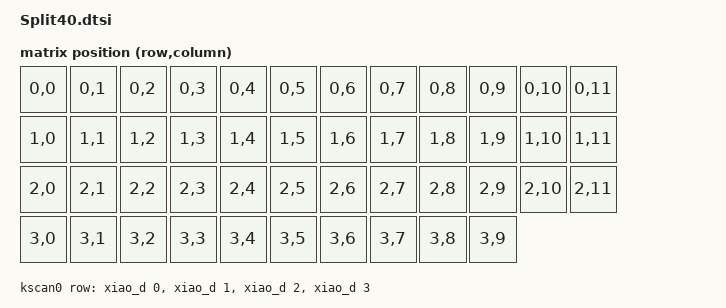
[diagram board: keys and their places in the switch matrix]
#include <dt-bindings/zmk/matrix_transform.h>
#include <physical_layouts.dtsi>

/ {
    chosen {
        zmk,physical-layout = &split40_physical_layout;
    };
    split40_physical_layout: split40_physical_layout {
        compatible = "zmk,physical-layout";
        display-name = "Default";
        kscan = <&kscan0>;
        transform = <&default_transform>;

        keys  //                     w   h    x    y     rot    rx    ry
            = <&key_physical_attrs 100 100    0    0       0     0     0>
            , <&key_physical_attrs 100 100  100    0       0     0     0>
            , <&key_physical_attrs 100 100  200    0       0     0     0>
            , <&key_physical_attrs 100 100  300    0       0     0     0>
            , <&key_physical_attrs 100 100  400    0       0     0     0>
            , <&key_physical_attrs 100 100  500    0       0     0     0>
            , <&key_physical_attrs 100 100  675    0       0     0     0>
            , <&key_physical_attrs 100 100  775    0       0     0     0>
            , <&key_physical_attrs 100 100  875    0       0     0     0>
            , <&key_physical_attrs 100 100  975    0       0     0     0>
            , <&key_physical_attrs 100 100 1075    0       0     0     0>
            , <&key_physical_attrs 150 100 1175    0       0     0     0>
            , <&key_physical_attrs 125 100    0  100       0     0     0>
            , <&key_physical_attrs 100 100  125  100       0     0     0>
            , <&key_physical_attrs 100 100  225  100       0     0     0>
            , <&key_physical_attrs 100 100  325  100       0     0     0>
            , <&key_physical_attrs 100 100  425  100       0     0     0>
            , <&key_physical_attrs 100 100  525  100       0     0     0>
            , <&key_physical_attrs 100 100  700  100       0     0     0>
            , <&key_physical_attrs 100 100  800  100       0     0     0>
            , <&key_physical_attrs 100 100  900  100       0     0     0>
            , <&key_physical_attrs 100 100 1000  100       0     0     0>
            , <&key_physical_attrs 100 100 1100  100       0     0     0>
            , <&key_physical_attrs 125 100 1200  100       0     0     0>
            , <&key_physical_attrs 150 100    0  200       0     0     0>
            , <&key_physical_attrs 100 100  150  200       0     0     0>
            , <&key_physical_attrs 100 100  250  200       0     0     0>
            , <&key_physical_attrs 100 100  350  200       0     0     0>
            , <&key_physical_attrs 100 100  450  200       0     0     0>
            , <&key_physical_attrs 100 100  550  200       0     0     0>
            , <&key_physical_attrs 100 100  725  200       0     0     0>
            , <&key_physical_attrs 100 100  825  200       0     0     0>
            , <&key_physical_attrs 100 100  925  200       0     0     0>
            , <&key_physical_attrs 100 100 1025  200       0     0     0>
            , <&key_physical_attrs 100 100 1125  200       0     0     0>
            , <&key_physical_attrs 100 100 1225  200       0     0     0>
            , <&key_physical_attrs 100 100  175  300       0     0     0>
            , <&key_physical_attrs 100 100  275  300       0     0     0>
            , <&key_physical_attrs 100 100  375  300       0     0     0>
            , <&key_physical_attrs 150 100  475  300       0     0     0>
            , <&key_physical_attrs 150 100  700  300       0     0     0>
            , <&key_physical_attrs 100 100  850  300       0     0     0>
            , <&key_physical_attrs 100 100  950  300       0     0     0>
            , <&key_physical_attrs 100 100 1050  300       0     0     0>
            ;
    };
    
    default_transform: keymap_transform_0 {
        compatible = "zmk,matrix-transform";
        columns = <12>;
        rows = <4>;
        map = <
            RC(0,0) RC(0,1) RC(0,2) RC(0,3) RC(0,4) RC(0,5) RC(0,6) RC(0,7) RC(0,8) RC(0,9) RC(0,10) RC(0,11)
            RC(1,0) RC(1,1) RC(1,2) RC(1,3) RC(1,4) RC(1,5) RC(1,6) RC(1,7) RC(1,8) RC(1,9) RC(1,10) RC(1,11)
            RC(2,0) RC(2,1) RC(2,2) RC(2,3) RC(2,4) RC(2,5) RC(2,6) RC(2,7) RC(2,8) RC(2,9) RC(2,10) RC(2,11)
            RC(3,0) RC(3,1) RC(3,2) RC(3,3) RC(3,4) RC(3,5) RC(3,6) RC(3,7) RC(3,8) RC(3,9)
        >;
    };

    kscan0: kscan {
        compatible = "zmk,kscan-gpio-matrix";
        label = "KSCAN";
        diode-direction = "col2row";
            row-gpios
                = <&xiao_d 0 (GPIO_ACTIVE_HIGH | GPIO_PULL_DOWN)>
                , <&xiao_d 1 (GPIO_ACTIVE_HIGH | GPIO_PULL_DOWN)>
                , <&xiao_d 2 (GPIO_ACTIVE_HIGH | GPIO_PULL_DOWN)>
                , <&xiao_d 3 (GPIO_ACTIVE_HIGH | GPIO_PULL_DOWN)>
                ;
    };

    sensors: sensors {};

};
